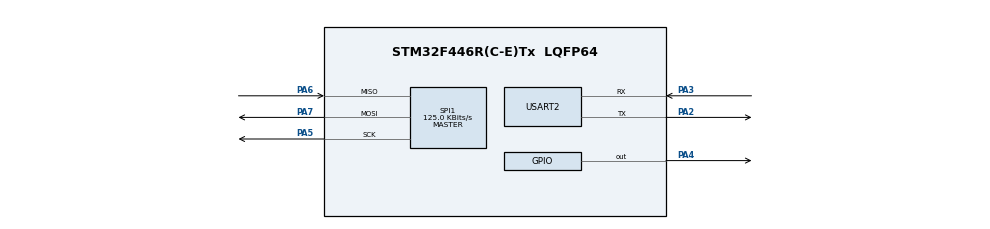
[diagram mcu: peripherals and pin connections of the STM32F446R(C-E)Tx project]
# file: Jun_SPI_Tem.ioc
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Mcu.Family=STM32F4
Mcu.Name=STM32F446R(C-E)Tx
Mcu.Package=LQFP64
NVIC.PriorityGroup=NVIC_PRIORITYGROUP_4
PA2.Mode=Asynchronous
PA2.Signal=USART2_TX
PA3.Mode=Asynchronous
PA3.Signal=USART2_RX
PA4.Signal=GPIO_Output
PA5.Mode=Full_Duplex_Master
PA5.Signal=SPI1_SCK
PA6.Mode=Full_Duplex_Master
PA6.Signal=SPI1_MISO
PA7.Mode=Full_Duplex_Master
PA7.Signal=SPI1_MOSI
ProjectManager.HeapSize=0x200
ProjectManager.StackSize=0x400
ProjectManager.TargetToolchain=STM32CubeIDE
RCC.CortexFreq_Value=16000000
RCC.USBFreq_Value=96000000
RCC.VCOOutputFreq_Value=192000000
SPI1.BaudRatePrescaler=SPI_BAUDRATEPRESCALER_128
SPI1.CalculateBaudRate=125.0 KBits/s
SPI1.Direction=SPI_DIRECTION_2LINES
SPI1.Mode=SPI_MODE_MASTER
SPI1.VirtualType=VM_MASTER
USART2.VirtualMode=VM_ASYNC
board=custom

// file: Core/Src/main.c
/* USER CODE BEGIN Header */
/**
  ******************************************************************************
  * @file           : main.c
  * @brief          : Main program body
  ******************************************************************************
  * @attention
  *
  * Copyright (c) 2025 STMicroelectronics.
  * All rights reserved.
  *
  * This software is licensed under terms that can be found in the LICENSE file
  * in the root directory of this software component.
  * If no LICENSE file comes with this software, it is provided AS-IS.
  *
  ******************************************************************************
  */
/* USER CODE END Header */
#include "main.h"
#include <stdio.h>
#include <string.h>
#include <stdbool.h>
#include "max6675.h"

SPI_HandleTypeDef hspi1;

UART_HandleTypeDef huart2;

void SystemClock_Config(void);
static void MX_GPIO_Init(void);
static void MX_SPI1_Init(void);
static void MX_USART2_UART_Init(void);
void HAL_UART_Send_Temp(uint16_t temp);
uint16_t MAX6675_Read_Temp(void);

/* USER CODE BEGIN 0 */
// Send formatted temperature over UART
void HAL_UART_Send_Temp(uint16_t temp)
{
    char buffer[50];
    snprintf(buffer, sizeof(buffer), "Temperature is: %d C\r\n", temp);
    HAL_UART_Transmit(&huart2, (uint8_t *)buffer, strlen(buffer), HAL_MAX_DELAY);
}

// Read temperature from MAX6675 sensor via SPI
uint16_t MAX6675_Read_Temp(void)
{
    uint8_t spi_buf[2];
    uint16_t temp_raw = 0;

    HAL_GPIO_WritePin(GPIOA, GPIO_PIN_4, GPIO_PIN_RESET);

    for (volatile int i = 0; i < 100; i++);  // ~1us delay

    if (HAL_SPI_Receive(&hspi1, spi_buf, 2, 100) != HAL_OK)
    {
        HAL_GPIO_WritePin(GPIOA, GPIO_PIN_4, GPIO_PIN_SET);
        return 0xFFFF;  // SPI error
    }

    HAL_GPIO_WritePin(GPIOA, GPIO_PIN_4, GPIO_PIN_SET);

    temp_raw = (spi_buf[0] << 8) | spi_buf[1];

    if (temp_raw == 0xFFFE)
        printf("Thermocouple Disconnected\r\n");

    temp_raw >>= 3;  // Remove lower 3 bits
    return temp_raw;
}

/* USER CODE END 0 */

int main(void)
{

  /* MCU Configuration--------------------------------------------------------*/

  /* Reset of all peripherals, Initializes the Flash interface and the Systick. */
  HAL_Init();

  /* Configure the system clock */
  SystemClock_Config();

  /* Initialize all configured peripherals */
  MX_GPIO_Init();
  MX_SPI1_Init();
  MX_USART2_UART_Init();

  /* Infinite loop */
  while (1)
  {

    /* USER CODE BEGIN 3 */
	  uint16_t temp_raw = MAX6675_Read_Temp();

	    if (temp_raw == 0xFFFF)
	    {
	        HAL_UART_Transmit(&huart2, (uint8_t *)"SPI Error\r\n", 11, HAL_MAX_DELAY);
	    }
	    else if (temp_raw == 0xFFFE)
	    {
	        HAL_UART_Transmit(&huart2, (uint8_t *)"Thermocouple Disconnected\r\n", 28, HAL_MAX_DELAY);
	    }
	    else
	    {
	        uint16_t temp_celsius = temp_raw / 4;  // convert from 0.25°C steps
	        HAL_UART_Send_Temp(temp_celsius);
	    }

	    HAL_Delay(1000); // Wait 1 second between readings
  }
  /* USER CODE END 3 */
}

void SystemClock_Config(void)
{
  RCC_OscInitTypeDef RCC_OscInitStruct = {0};
  RCC_ClkInitTypeDef RCC_ClkInitStruct = {0};

  /** Configure the main internal regulator output voltage
  */
  __HAL_RCC_PWR_CLK_ENABLE();
  __HAL_PWR_VOLTAGESCALING_CONFIG(PWR_REGULATOR_VOLTAGE_SCALE3);

  /** Initializes the RCC Oscillators according to the specified parameters
  * in the RCC_OscInitTypeDef structure.
  */
  RCC_OscInitStruct.OscillatorType = RCC_OSCILLATORTYPE_HSI;
  RCC_OscInitStruct.HSIState = RCC_HSI_ON;
  RCC_OscInitStruct.HSICalibrationValue = RCC_HSICALIBRATION_DEFAULT;
  RCC_OscInitStruct.PLL.PLLState = RCC_PLL_NONE;
  if (HAL_RCC_OscConfig(&RCC_OscInitStruct) != HAL_OK)
  {
    Error_Handler();
  }

  /** Initializes the CPU, AHB and APB buses clocks
  */
  RCC_ClkInitStruct.ClockType = RCC_CLOCKTYPE_HCLK|RCC_CLOCKTYPE_SYSCLK
                              |RCC_CLOCKTYPE_PCLK1|RCC_CLOCKTYPE_PCLK2;
  RCC_ClkInitStruct.SYSCLKSource = RCC_SYSCLKSOURCE_HSI;
  RCC_ClkInitStruct.AHBCLKDivider = RCC_SYSCLK_DIV1;
  RCC_ClkInitStruct.APB1CLKDivider = RCC_HCLK_DIV1;
  RCC_ClkInitStruct.APB2CLKDivider = RCC_HCLK_DIV1;

  if (HAL_RCC_ClockConfig(&RCC_ClkInitStruct, FLASH_LATENCY_0) != HAL_OK)
  {
    Error_Handler();
  }
}

static void MX_SPI1_Init(void)
{

  /* SPI1 parameter configuration*/
  hspi1.Instance = SPI1;
  hspi1.Init.Mode = SPI_MODE_MASTER;
  hspi1.Init.Direction = SPI_DIRECTION_2LINES;
  hspi1.Init.DataSize = SPI_DATASIZE_8BIT;
  hspi1.Init.CLKPolarity = SPI_POLARITY_LOW;
  hspi1.Init.CLKPhase = SPI_PHASE_1EDGE;
  hspi1.Init.NSS = SPI_NSS_SOFT;
  hspi1.Init.BaudRatePrescaler = SPI_BAUDRATEPRESCALER_128;
  hspi1.Init.FirstBit = SPI_FIRSTBIT_MSB;
  hspi1.Init.TIMode = SPI_TIMODE_DISABLE;
  hspi1.Init.CRCCalculation = SPI_CRCCALCULATION_DISABLE;
  hspi1.Init.CRCPolynomial = 10;
  if (HAL_SPI_Init(&hspi1) != HAL_OK)
  {
    Error_Handler();
  }

}

static void MX_USART2_UART_Init(void)
{

  huart2.Instance = USART2;
  huart2.Init.BaudRate = 115200;
  huart2.Init.WordLength = UART_WORDLENGTH_8B;
  huart2.Init.StopBits = UART_STOPBITS_1;
  huart2.Init.Parity = UART_PARITY_NONE;
  huart2.Init.Mode = UART_MODE_TX_RX;
  huart2.Init.HwFlowCtl = UART_HWCONTROL_NONE;
  huart2.Init.OverSampling = UART_OVERSAMPLING_16;
  if (HAL_UART_Init(&huart2) != HAL_OK)
  {
    Error_Handler();
  }

}

static void MX_GPIO_Init(void)
{
  GPIO_InitTypeDef GPIO_InitStruct = {0};

  /* GPIO Ports Clock Enable */
  __HAL_RCC_GPIOA_CLK_ENABLE();

  /*Configure GPIO pin Output Level */
  HAL_GPIO_WritePin(GPIOA, GPIO_PIN_4, GPIO_PIN_RESET);

  /*Configure GPIO pin : PA4 */
  GPIO_InitStruct.Pin = GPIO_PIN_4;
  GPIO_InitStruct.Mode = GPIO_MODE_OUTPUT_PP;
  GPIO_InitStruct.Pull = GPIO_NOPULL;
  GPIO_InitStruct.Speed = GPIO_SPEED_FREQ_LOW;
  HAL_GPIO_Init(GPIOA, &GPIO_InitStruct);

}

void Error_Handler(void)
{
  __disable_irq();
  while (1)
  {
  }
}
